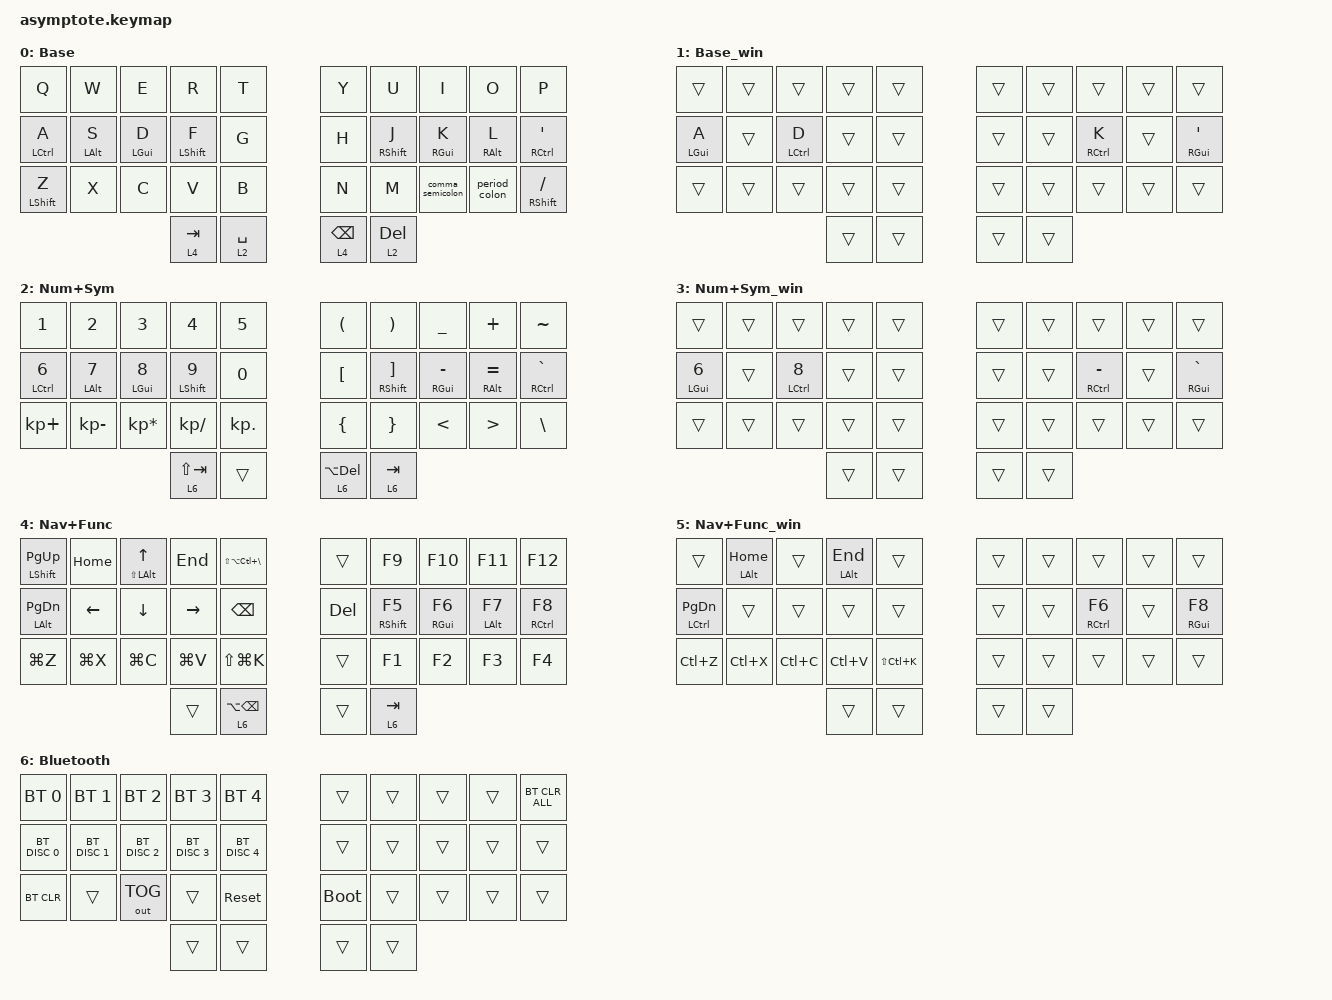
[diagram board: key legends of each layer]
/*
 * Copyright (c) 2020 The ZMK Contributors
 *
 * SPDX-License-Identifier: MIT
 */

#include <behaviors.dtsi>
#include <dt-bindings/zmk/bt.h>
#include <dt-bindings/zmk/keys.h>
#include <dt-bindings/zmk/outputs.h>

&mt {
    tapping-term-ms = <250>;
    flavor = "tap-preferred";
};

&lt { quick-tap-ms = <300>; };

&soft_off { hold-time-ms = <5000>; };

/ {
    combos {
        compatible = "zmk,combos";

        left_enter {
            bindings = <&kp ENTER>;
            key-positions = <1 12 23>;
        };

        right_enter {
            bindings = <&kp ENTER>;
            key-positions = <8 17 26>;
        };

        esc {
            bindings = <&kp ESCAPE>;
            key-positions = <0 1>;
        };

        tab {
            bindings = <&kp TAB>;
            key-positions = <3 14>;
        };

        shift_tab {
            bindings = <&kp LS(TAB)>;
            key-positions = <2 13>;
        };

        hold_space {
            bindings = <&kp SPACE>;
            key-positions = <31 23>;
        };

        caps_word {
            bindings = <&caps_word>;
            key-positions = <14 15>;
        };

        toggle_nav {
            bindings = <&tog 4>;
            key-positions = <11 2 13>;
            layers = <0 4>;
            require-prior-idle-ms = <350>;
        };

        jsdoc {
            bindings = <&jsdoc>;
            key-positions = <29 28>;
        };

        caps_lock {
            bindings = <&kp CAPSLOCK>;
            key-positions = <13 12 16 17>;
        };

        screenshot_mac {
            bindings = <&kp LS(LG(N5))>;
            key-positions = <0 11>;
            layers = <0 2>;
        };

        reset {
            bindings = <&sys_reset>;
            key-positions = <0 31 32 9>;
        };

        bootloader {
            bindings = <&bootloader>;
            key-positions = <4 14 5 15>;
        };

        bt_clear_all {
            bindings = <&bt BT_CLR_ALL>;
            key-positions = <20 21 29 28 22 27>;
        };

        toggle_win {
            bindings = <&tog 1>;
            key-positions = <0 9>;
        };

        screenshot_win {
            bindings = <&kp LS(LG(S))>;
            key-positions = <0 11>;
            layers = <1>;
        };
    };

    behaviors {
        hm: HOMEROW_MODS {
            compatible = "zmk,behavior-hold-tap";
            label = "HOMEROW_MODS";
            bindings = <&kp>, <&kp>;

            #binding-cells = <2>;
            tapping-term-ms = <250>;
            quick-tap-ms = <0>;
            flavor = "balanced";
            require-prior-idle-ms = <200>;
        };

        hs: HOMEROW_SHIFT {
            compatible = "zmk,behavior-hold-tap";
            label = "HOMEROW_SHIFT";
            bindings = <&kp>, <&kp>;

            #binding-cells = <2>;
            tapping-term-ms = <250>;
            quick-tap-ms = <0>;
            flavor = "balanced";
        };

        esc: esc {
            compatible = "zmk,behavior-tap-dance";
            label = "ESC";
            #binding-cells = <0>;
            bindings = <&kp Q>, <&kp ESC>;

            tapping-term-ms = <200>;
        };

        tab: tab {
            compatible = "zmk,behavior-tap-dance";
            label = "TAB";
            #binding-cells = <0>;
            bindings = <&mt LCTRL ENTER>, <&kp TAB>;

            tapping-term-ms = <250>;
        };

        comma_semicolon: comma_semicolon {
            compatible = "zmk,behavior-mod-morph";
            label = "COMMA_SEMICOLON";
            bindings = <&kp COMMA>, <&kp SEMICOLON>;

            #binding-cells = <0>;
            mods = <(MOD_LSFT|MOD_RSFT)>;
        };

        period_colon: period_colon {
            compatible = "zmk,behavior-mod-morph";
            label = "PERIOD_COLON";
            bindings = <&kp PERIOD>, <&kp COLON>;

            #binding-cells = <0>;
            mods = <(MOD_LSFT|MOD_RSFT)>;
        };
    };

    macros {
        jsdoc: jsdoc {
            compatible = "zmk,behavior-macro";
            #binding-cells = <0>;
            bindings = <&kp FSLH &kp STAR &kp STAR &kp SPACE>;
            label = "JSDOC";
        };
    };

    keymap {
        compatible = "zmk,keymap";

        Base {
            bindings = <
&kp Q        &kp W           &kp E           &kp R             &kp T                     &kp Y            &kp U         &kp I             &kp O            &kp P
&hm LCTRL A  &hm LEFT_ALT S  &hm LEFT_GUI D  &hs LEFT_SHIFT F  &kp G                     &kp H            &hs RSHFT J   &hm RGUI K        &hm RIGHT_ALT L  &hm RCTRL SQT
&hs LSHFT Z  &kp X           &kp C           &kp V             &kp B                     &kp N            &kp M         &comma_semicolon  &period_colon    &hs RSHFT FSLH
                                                               &lt 4 TAB  &lt 2 SPACE    &lt 4 BACKSPACE  &lt 2 DELETE
            >;
        };

        Base_win {
            bindings = <
&trans      &trans  &trans       &trans  &trans            &trans  &trans  &trans       &trans  &trans
&hm LGUI A  &trans  &hm LCTRL D  &trans  &trans            &trans  &trans  &hm RCTRL K  &trans  &hm RGUI SQT
&trans      &trans  &trans       &trans  &trans            &trans  &trans  &trans       &trans  &trans
                                         &trans  &trans    &trans  &trans
            >;
        };

        Num+Sym {
            bindings = <
&kp NUMBER_1  &kp NUMBER_2     &kp NUMBER_3     &kp NUMBER_4   &kp N5                   &kp LEFT_PARENTHESIS  &kp RIGHT_PARENTHESIS          &kp UNDERSCORE  &kp PLUS             &kp TILDE
&hm LCTRL N6  &hm LEFT_ALT N7  &hm LGUI N8      &hs LSHFT N9   &kp N0                   &kp LEFT_BRACKET      &hm RIGHT_SHIFT RIGHT_BRACKET  &hm RGUI MINUS  &hm RIGHT_ALT EQUAL  &hm RCTRL GRAVE
&kp KP_PLUS   &kp KP_MINUS     &kp KP_MULTIPLY  &kp KP_DIVIDE  &kp KP_DOT               &kp LEFT_BRACE        &kp RIGHT_BRACE                &kp LESS_THAN   &kp GREATER_THAN     &kp BACKSLASH
                                                               &lt 6 LS(TAB)  &trans    &lt 6 LA(DELETE)      &lt 6 TAB
            >;
        };

        Num+Sym_win {
            bindings = <
&trans             &trans  &trans        &trans  &trans            &trans  &trans  &trans           &trans  &trans
&hm LGUI NUMBER_6  &trans  &hm LCTRL N8  &trans  &trans            &trans  &trans  &hm RCTRL MINUS  &trans  &hm RGUI GRAVE
&trans             &trans  &trans        &trans  &trans            &trans  &trans  &trans           &trans  &trans
                                                 &trans  &trans    &trans  &trans
            >;
        };

        Nav+Func {
            bindings = <
&mt LEFT_SHIFT PAGE_UP  &kp HOME   &mt LS(LALT) UP_ARROW  &kp END    &kp LS(LA(LC(BACKSLASH)))                         &trans      &kp F9        &kp F10      &kp F11          &kp F12
&mt LALT PAGE_DOWN      &kp LEFT   &kp DOWN               &kp RIGHT  &kp BACKSPACE                                     &kp DELETE  &hs RSHFT F5  &hm RGUI F6  &hm LEFT_ALT F7  &hm RCTRL F8
&kp LG(Z)               &kp LG(X)  &kp LG(C)              &kp LG(V)  &kp LS(LG(K))                                     &trans      &kp F1        &kp F2       &kp F3           &kp F4
                                                                     &trans                     &lt 6 LA(BACKSPACE)    &trans      &lt 6 TAB
            >;
        };

        Nav+Func_win {
            bindings = <
&trans               &mt LALT HOME  &trans     &mt LALT END  &trans                   &trans  &trans  &trans        &trans  &trans
&hm LCTRL PAGE_DOWN  &trans         &trans     &trans        &trans                   &trans  &trans  &hm RCTRL F6  &trans  &hm RGUI F8
&kp LC(Z)            &kp LC(X)      &kp LC(C)  &kp LC(V)     &kp LS(LC(K))            &trans  &trans  &trans        &trans  &trans
                                                             &trans         &trans    &trans  &trans
            >;
        };

        Bluetooth {
            bindings = <
&bt BT_SEL 0   &bt BT_SEL 1   &bt BT_SEL 2   &bt BT_SEL 3   &bt BT_SEL 4             &trans       &trans  &trans  &trans  &bt BT_CLR_ALL
&bt BT_DISC 0  &bt BT_DISC 1  &bt BT_DISC 2  &bt BT_DISC 3  &bt BT_DISC 4            &trans       &trans  &trans  &trans  &trans
&bt BT_CLR     &trans         &out OUT_TOG   &trans         &sys_reset               &bootloader  &trans  &trans  &trans  &trans
                                                            &trans         &trans    &trans       &trans
            >;
        };
    };

    conditional_layers {
        compatible = "zmk,conditional-layers";

        num_sym_win {
            if-layers = <1 2>;
            then-layer = <3>;
        };

        nav_func_win {
            if-layers = <1 4>;
            then-layer = <5>;
        };
    };
};
